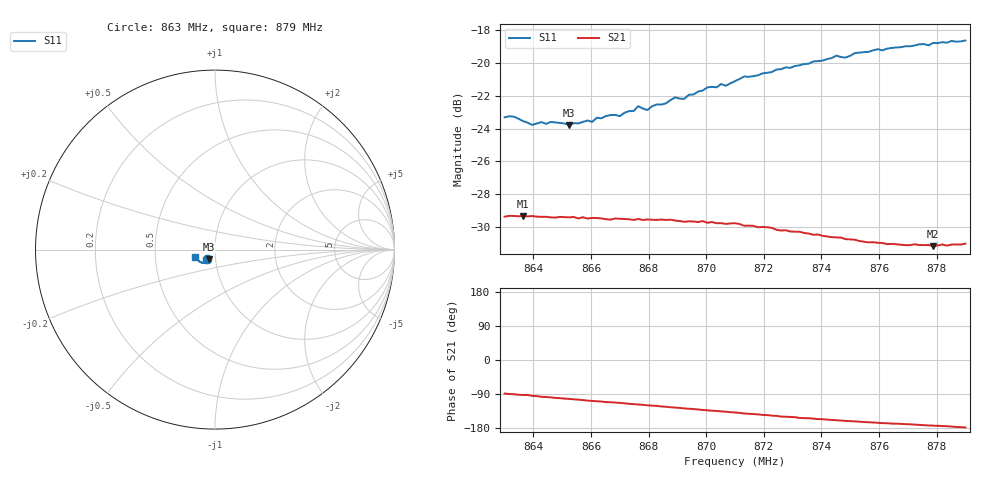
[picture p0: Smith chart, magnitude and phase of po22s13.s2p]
# HZ S RI R 50
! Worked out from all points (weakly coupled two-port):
!   101 points, 863 MHz to 879 MHz, reference 50 ohm
!   highest |S21| = -29.33 dB at 863.64 MHz (marker M1); lowest = -31.2 dB at 877.88 MHz (marker M2)
!   lowest |S11| = -23.8 dB at 865.24 MHz (marker M3), VSWR 1.14, Z = 46.4 - j5.08 ohm
!   |S11| at or under -10 dB: start of sweep to end of sweep
!   S12 and S22 are empty: the file has one direction only
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8.63e8  -0.0434 -0.0527  0.00083 -0.034  0 0  0 0
8.6332e8  -0.0434 -0.0531  -0.000166 -0.0342  0 0  0 0
8.6364e8  -0.0408 -0.0526  -0.00143 -0.0341  0 0  0 0
8.6396e8  -0.0383 -0.0522  -0.00274 -0.034  0 0  0 0
8.646e8  -0.0382 -0.0539  -0.00509 -0.0334  0 0  0 0
8.6524e8  -0.0349 -0.0545  -0.00741 -0.033  0 0  0 0
8.6572e8  -0.0343 -0.0566  -0.00922 -0.0326  0 0  0 0
8.6668e8  -0.0336 -0.0607  -0.0122 -0.031  0 0  0 0
8.67e8  -0.0337 -0.06  -0.0132 -0.0308  0 0  0 0
8.6764e8  -0.0358 -0.0647  -0.0154 -0.0297  0 0  0 0
8.6796e8  -0.034 -0.0634  -0.0165 -0.0289  0 0  0 0
8.6844e8  -0.0354 -0.0658  -0.018 -0.028  0 0  0 0
8.6892e8  -0.0387 -0.0684  -0.0192 -0.0269  0 0  0 0
8.6924e8  -0.038 -0.0679  -0.0201 -0.0259  0 0  0 0
8.7004e8  -0.0434 -0.0723  -0.0221 -0.0239  0 0  0 0
8.7068e8  -0.0452 -0.0723  -0.0234 -0.0222  0 0  0 0
8.71e8  -0.048 -0.0738  -0.0242 -0.0216  0 0  0 0
8.7132e8  -0.0504 -0.0758  -0.0248 -0.02  0 0  0 0
8.7372e8  -0.0682 -0.0747  -0.027 -0.0128  0 0  0 0
8.7644e8  -0.0931 -0.0609  -0.0274 -0.00595  0 0  0 0
8.7788e8  -0.1039 -0.0499  -0.0274 -0.00326  0 0  0 0
8.79e8  -0.1105 -0.0393  -0.0281 -0.000942  0 0  0 0
